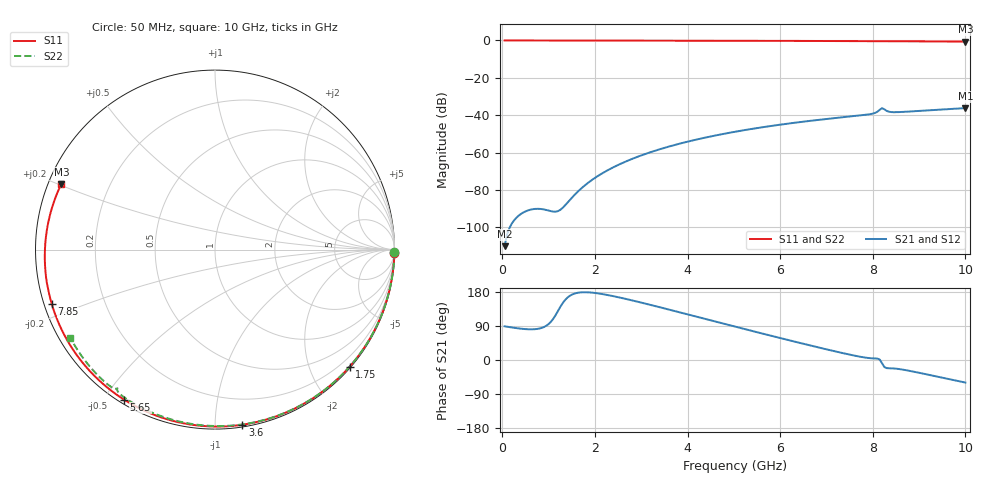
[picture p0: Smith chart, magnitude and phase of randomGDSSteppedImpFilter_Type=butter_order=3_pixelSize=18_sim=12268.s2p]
! freq	dB(S11)	phase(S11)	dB(S12)	phase(S12)
!  dB(S21)	phase(S21)	dB(S22)	phase(S22)
!S-par simulation data
#  GHz  S  DB  R 50
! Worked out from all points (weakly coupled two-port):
!   200 points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, 50 MHz to 10 GHz, reference 50 ohm
!   highest |S21| = -36.21 dB at 10 GHz (marker M1); lowest = -110.1 dB at 50 MHz (marker M2)
!   lowest |S11| = -0.6 dB at 10 GHz (marker M3), VSWR 28.08, Z = 1.86 + j10.2 ohm
!   |S11| at or under -10 dB: nowhere
!   |S22| runs from -0.5 to 0.0 dB; largest |S21 - S12| = 0
!   S11 on the Smith chart (normalised r, x): 50 MHz: 1, -94; 1.75 GHz: 0.02, -2.67; 3.6 GHz: 0.01, -1.17; 5.65 GHz: 0.02, -0.56; 7.85 GHz: 0.02, -0.16; 10 GHz: 0.04, +0.20
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0.05  -0.00 -1.2  -110.07 88.9  -110.07 88.9  -0.00 -0.9
0.8  -0.02 -19.0  -90.10 83.0  -90.10 83.0  -0.02 -13.7
1.2  -0.04 -28.4  -91.34 128.8  -91.34 128.8  -0.03 -20.5
1.65  -0.05 -38.8  -80.43 177.8  -80.43 177.8  -0.04 -28.1
1.75  -0.05 -41.0  -78.21 178.8  -78.21 178.8  -0.04 -29.7
2.05  -0.06 -47.8  -72.74 176.1  -72.74 176.1  -0.04 -34.7
2.45  -0.07 -56.7  -67.22 167.1  -67.22 167.1  -0.05 -41.3
2.9  -0.09 -66.4  -62.44 154.5  -62.44 154.5  -0.06 -48.5
3.4  -0.10 -77.0  -58.22 139.3  -58.22 139.3  -0.08 -56.5
3.6  -0.11 -81.1  -56.76 133.1  -56.76 133.1  -0.08 -59.6
4.3  -0.13 -95.3  -52.43 111.0  -52.43 111.0  -0.10 -70.3
5.05  -0.17 -109.8  -48.74 87.4  -48.74 87.4  -0.13 -81.5
5.65  -0.20 -121.2  -46.31 68.7  -46.31 68.7  -0.15 -90.2
6.7  -0.27 -140.5  -42.86 36.9  -42.86 36.9  -0.20 -104.9
7.3  -0.32 -151.4  -41.23 19.6  -41.23 19.6  -0.24 -113.1
7.85  -0.37 -161.5  -39.78 6.1  -39.78 6.1  -0.29 -120.6
8.05  -0.39 -165.2  -38.76 4.1  -38.76 4.1  -0.33 -123.5
8.2  -0.40 -167.9  -36.24 -8.4  -36.24 -8.4  -0.50 -125.1
8.35  -0.41 -170.8  -38.12 -21.8  -38.12 -21.8  -0.37 -126.5
8.55  -0.43 -174.5  -38.35 -23.5  -38.35 -23.5  -0.36 -129.4
9.2  -0.51 173.0  -37.37 -38.8  -37.37 -38.8  -0.41 -138.1
10  -0.62 156.8  -36.21 -59.6  -36.21 -59.6  -0.50 -148.7
